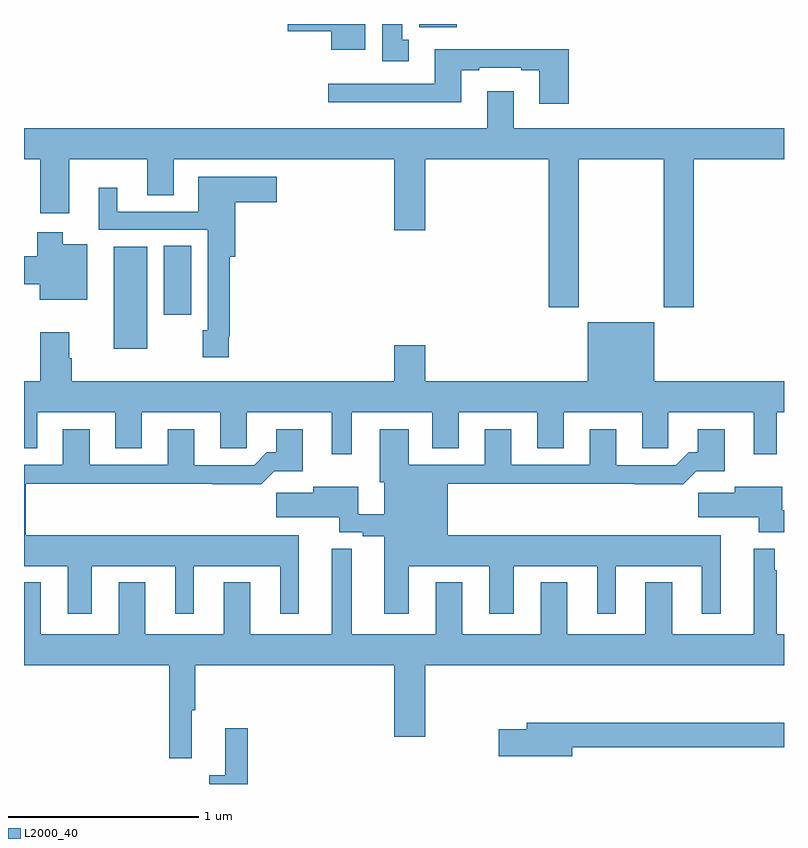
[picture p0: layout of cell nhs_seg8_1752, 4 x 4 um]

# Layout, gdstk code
import gdstk
lib = gdstk.Library(unit=1e-6, precision=1e-09)
def R(c, l, rs):  # rectangles x0, y0, x1, y1
    for r in rs: c.add(gdstk.rectangle(r[:2], r[2:], *l))
def P(c, l, *ps):  # polygons
    for p in ps: c.add(gdstk.Polygon(p, *l))
L2000_40 = (2000, 40)

nhs_seg8_1752 = lib.new_cell('nhs_seg8_1752')
R(nhs_seg8_1752, L2000_40, [(223.472,1094.192,223.648,1094.728), (223.736,1094.37,223.879,1094.732), (225.08,1095.884,225.277,1095.9)])
P(nhs_seg8_1752, L2000_40, [(225.025,1095.818),(224.992,1095.818),(224.992,1095.9),(224.885,1095.9),(224.885,1095.705),(225.025,1095.705)],
  [(224.797,1095.9),(224.388,1095.9),(224.388,1095.863),(224.618,1095.863),(224.618,1095.764),(224.797,1095.764)],
  [(225.866,1095.766),(225.161,1095.766),(225.161,1095.585),(224.601,1095.585),(224.601,1095.488),(225.301,1095.488),(225.301,1095.657),(225.397,1095.657),(225.397,1095.669),(225.617,1095.669),(225.617,1095.657),(225.713,1095.657),(225.713,1095.48),(225.866,1095.48)],
  [(225.921,1095.188),(226.366,1095.188),(226.366,1094.409),(226.526,1094.409),(226.526,1095.188),(227,1095.188),(227,1095.352),(225.577,1095.352),(225.577,1095.547),(225.437,1095.547),(225.437,1095.352),(223,1095.352),(223,1095.188),(223.085,1095.188),(223.085,1094.904),(223.237,1094.904),(223.237,1095.188),(223.649,1095.188),(223.649,1094.998),(223.789,1094.998),(223.789,1095.188),(224.948,1095.188),(224.948,1094.814),(225.112,1094.814),(225.112,1095.188),(225.761,1095.188),(225.761,1094.409),(225.921,1094.409)],
  [(224.077,1094.257),(224.084,1094.257),(224.084,1094.675),(224.111,1094.675),(224.111,1094.963),(224.329,1094.963),(224.329,1095.097),(223.916,1095.097),(223.916,1094.913),(223.492,1094.913),(223.492,1095.037),(223.394,1095.037),(223.394,1094.817),(223.968,1094.817),(223.968,1094.289),(223.942,1094.289),(223.942,1094.145),(224.077,1094.145)],
  [(223.333,1094.74),(223.204,1094.74),(223.204,1094.803),(223.07,1094.803),(223.07,1094.678),(223,1094.678),(223,1094.531),(223.082,1094.531),(223.082,1094.45),(223.333,1094.45)],
  [(225.968,1094.329),(225.968,1094.02),(225.112,1094.02),(225.112,1094.209),(224.948,1094.209),(224.948,1094.02),(223.25,1094.02),(223.25,1094.141),(223.237,1094.141),(223.237,1094.278),(223.085,1094.278),(223.085,1094.02),(223,1094.02),(223,1093.666),(223.069,1093.666),(223.069,1093.856),(223.481,1093.856),(223.481,1093.666),(223.621,1093.666),(223.621,1093.856),(224.033,1093.856),(224.033,1093.666),(224.172,1093.666),(224.172,1093.856),(224.621,1093.856),(224.621,1093.635),(224.725,1093.635),(224.725,1093.856),(225.149,1093.856),(225.149,1093.666),(225.289,1093.666),(225.289,1093.856),(225.701,1093.856),(225.701,1093.666),(225.841,1093.666),(225.841,1093.856),(226.253,1093.856),(226.253,1093.666),(226.392,1093.666),(226.392,1093.856),(226.841,1093.856),(226.841,1093.635),(226.963,1093.635),(226.963,1093.856),(227,1093.856),(227,1094.02),(226.318,1094.02),(226.318,1094.329)],
  [(225.025,1093.046),(225.449,1093.046),(225.449,1092.795),(225.577,1092.795),(225.577,1093.046),(226.016,1093.046),(226.016,1092.795),(226.114,1092.795),(226.114,1093.046),(226.568,1093.046),(226.568,1092.795),(226.666,1092.795),(226.666,1093.21),(225.229,1093.21),(225.229,1093.48),(226.213,1093.48),(226.213,1093.478),(226.469,1093.478),(226.538,1093.547),(226.687,1093.547),(226.687,1093.768),(226.547,1093.768),(226.547,1093.645),(226.498,1093.645),(226.431,1093.578),(226.117,1093.578),(226.117,1093.768),(225.977,1093.768),(225.977,1093.581),(225.565,1093.581),(225.565,1093.768),(225.425,1093.768),(225.425,1093.581),(225.025,1093.581),(225.025,1093.768),(224.873,1093.768),(224.873,1093.488),(224.897,1093.488),(224.897,1093.321),(224.758,1093.321),(224.758,1093.465),(224.522,1093.465),(224.522,1093.433),(224.328,1093.433),(224.328,1093.304),(224.66,1093.304),(224.66,1093.224),(224.783,1093.224),(224.783,1093.204),(224.897,1093.204),(224.897,1092.795),(225.025,1092.795)],
  [(223.357,1093.046),(223.796,1093.046),(223.796,1092.795),(223.894,1092.795),(223.894,1093.046),(224.348,1093.046),(224.348,1092.795),(224.446,1092.795),(224.446,1093.21),(223.009,1093.21),(223.009,1093.48),(223.993,1093.48),(223.993,1093.478),(224.249,1093.478),(224.318,1093.547),(224.467,1093.547),(224.467,1093.768),(224.327,1093.768),(224.327,1093.645),(224.278,1093.645),(224.211,1093.578),(223.897,1093.578),(223.897,1093.768),(223.757,1093.768),(223.757,1093.581),(223.345,1093.581),(223.345,1093.768),(223.205,1093.768),(223.205,1093.581),(223,1093.581),(223,1093.046),(223.229,1093.046),(223.229,1092.795),(223.357,1092.795)],
  [(227,1093.34),(226.991,1093.34),(226.991,1093.465),(226.742,1093.465),(226.742,1093.433),(226.548,1093.433),(226.548,1093.304),(226.868,1093.304),(226.868,1093.224),(227,1093.224)],
  [(223.883,1092.288),(223.901,1092.288),(223.901,1092.524),(224.948,1092.524),(224.948,1092.15),(225.112,1092.15),(225.112,1092.524),(227,1092.524),(227,1092.688),(226.963,1092.688),(226.963,1093.025),(226.952,1093.025),(226.952,1093.138),(226.841,1093.138),(226.841,1092.688),(226.411,1092.688),(226.411,1092.961),(226.271,1092.961),(226.271,1092.688),(225.859,1092.688),(225.859,1092.961),(225.719,1092.961),(225.719,1092.688),(225.307,1092.688),(225.307,1092.961),(225.167,1092.961),(225.167,1092.688),(224.725,1092.688),(224.725,1093.138),(224.621,1093.138),(224.621,1092.688),(224.191,1092.688),(224.191,1092.961),(224.051,1092.961),(224.051,1092.688),(223.639,1092.688),(223.639,1092.961),(223.499,1092.961),(223.499,1092.688),(223.087,1092.688),(223.087,1092.961),(223,1092.961),(223,1092.524),(223.765,1092.524),(223.765,1092.036),(223.883,1092.036)],
  [(225.886,1092.094),(227,1092.094),(227,1092.223),(225.647,1092.223),(225.647,1092.189),(225.498,1092.189),(225.498,1092.047),(225.886,1092.047)],
  [(224.177,1092.193),(224.06,1092.193),(224.06,1091.945),(223.974,1091.945),(223.974,1091.9),(224.177,1091.9)])

lib.write_gds('nhs_seg8_1752.gds')
